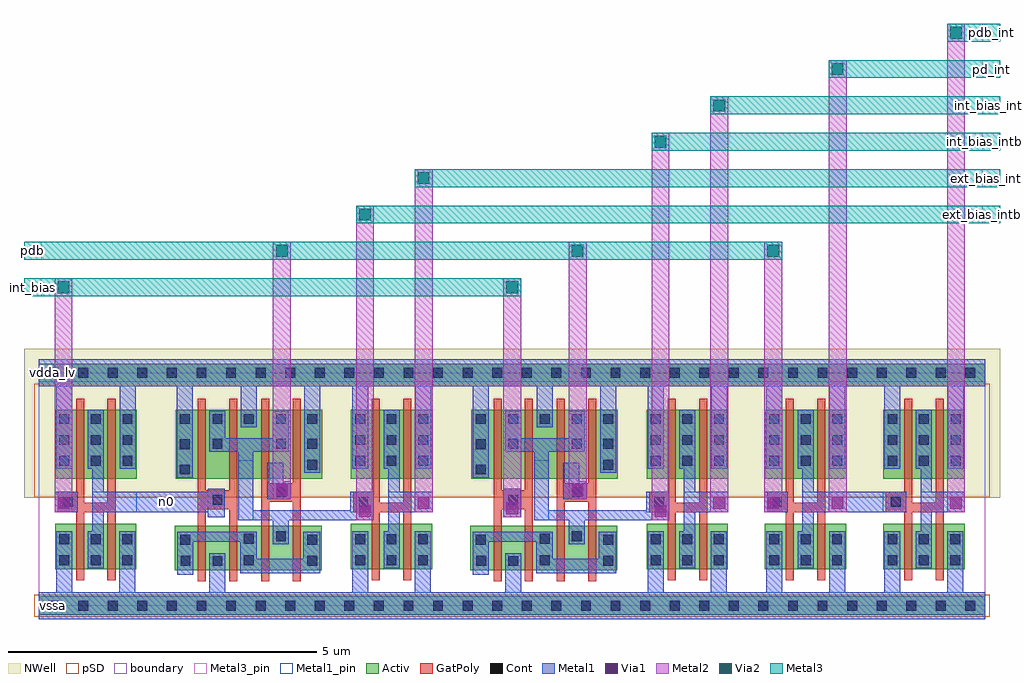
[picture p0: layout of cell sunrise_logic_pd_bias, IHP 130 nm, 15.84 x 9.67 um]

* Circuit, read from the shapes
.subckt sunrise_logic_pd_bias ext_bias_int ext_bias_intb int_bias int_bias_int int_bias_intb n0 pd_int pdb pdb_int vdda_lv vssa
XM1 n0 int_bias vssa vssa sg13_lv_nmos w=0.74u l=0.13u m=2
XM2 vssa n0 n1 vssa sg13_lv_nmos w=0.72u l=0.13u m=2
XM3 ext_bias_intb pdb n1 vssa sg13_lv_nmos w=0.72u l=0.13u m=2
XM4 ext_bias_int ext_bias_intb vssa vssa sg13_lv_nmos w=0.74u l=0.13u m=2
XM5 vssa int_bias n2 vssa sg13_lv_nmos w=0.72u l=0.13u m=2
XM6 int_bias_intb pdb n2 vssa sg13_lv_nmos w=0.72u l=0.13u m=2
XM7 int_bias_int int_bias_intb vssa vssa sg13_lv_nmos w=0.74u l=0.13u m=2
XM8 pd_int pdb vssa vssa sg13_lv_nmos w=0.74u l=0.13u m=2
XM9 pdb_int pd_int vssa vssa sg13_lv_nmos w=0.74u l=0.13u m=2
XM10 n0 int_bias vdda_lv vdda_lv sg13_lv_pmos w=1.12u l=0.13u m=2
XM11 ext_bias_intb n0 vdda_lv vdda_lv sg13_lv_pmos w=1.12u l=0.13u m=2
XM12 ext_bias_intb pdb vdda_lv vdda_lv sg13_lv_pmos w=1.12u l=0.13u m=2
XM13 ext_bias_int ext_bias_intb vdda_lv vdda_lv sg13_lv_pmos w=1.12u l=0.13u m=2
XM14 int_bias_intb int_bias vdda_lv vdda_lv sg13_lv_pmos w=1.12u l=0.13u m=2
XM15 int_bias_intb pdb vdda_lv vdda_lv sg13_lv_pmos w=1.12u l=0.13u m=2
XM16 int_bias_int int_bias_intb vdda_lv vdda_lv sg13_lv_pmos w=1.12u l=0.13u m=2
XM17 pd_int pdb vdda_lv vdda_lv sg13_lv_pmos w=1.12u l=0.13u m=2
XM18 pdb_int pd_int vdda_lv vdda_lv sg13_lv_pmos w=1.12u l=0.13u m=2
.ends

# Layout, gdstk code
from math import pi, radians
import gdstk
lib = gdstk.Library(unit=1e-6, precision=1e-09)
def R(c, l, rs):  # rectangles x0, y0, x1, y1
    for r in rs: c.add(gdstk.rectangle(r[:2], r[2:], *l))
def A(c, l, x, y, w, h, nx, ny, dx, dy):  # array of equal rectangles
    R(c, l, [(x+i*dx, y+j*dy, x+i*dx+w, y+j*dy+h) for i in range(nx) for j in range(ny)])
def P(c, l, *ps):  # polygons
    for p in ps: c.add(gdstk.Polygon(p, *l))
Activ = (1, 0)
GatPoly = (5, 0)
Cont = (6, 0)
Metal1 = (8, 0)
Metal1_pin = (8, 2)
Metal2 = (10, 0)
pSD = (14, 0)
Via1 = (19, 0)
Via2 = (29, 0)
Metal3 = (30, 0)
Metal3_pin = (30, 2)
NWell = (31, 0)
boundary = (189, 4)

sg13cmos5l_inv_2 = lib.new_cell('sg13cmos5l_inv_2')
R(sg13cmos5l_inv_2, Activ, [(0,-0.15,1.92,0.15), (0.265,0.59,1.585,1.33), (0.265,2.06,1.59,3.18), (0,3.63,1.92,3.93)])
P(sg13cmos5l_inv_2, GatPoly, [(0.605,0.41),(0.605,1.52),(0.305,1.52),(0.305,1.85),(0.605,1.85),(0.605,3.36),(0.735,3.36),(0.735,1.67),(1.115,1.67),(1.115,3.36),(1.245,3.36),(1.245,0.41),(1.115,0.41),(1.115,1.52),(0.735,1.52),(0.735,0.41)])
A(sg13cmos5l_inv_2, Cont, 0.335, 0.66, 0.16, 0.16, 3, 2, 0.51, 0.34)
A(sg13cmos5l_inv_2, Cont, 0.335, 2.27, 0.16, 0.16, 1, 3, 0, 0.34)
A(sg13cmos5l_inv_2, Cont, 0.845, 2.27, 0.16, 0.16, 1, 3, 0, 0.34)
A(sg13cmos5l_inv_2, Cont, 1.36, 2.27, 0.16, 0.16, 1, 3, 0, 0.34)
R(sg13cmos5l_inv_2, Cont, [(0.16,-0.08,0.32,0.08), (0.16,-0.08,0.32,0.08), (0.64,-0.08,0.8,0.08), (0.64,-0.08,0.8,0.08), (1.12,-0.08,1.28,0.08), (1.12,-0.08,1.28,0.08), (1.6,-0.08,1.76,0.08), (1.6,-0.08,1.76,0.08), (0.39,1.605,0.55,1.765), (0.16,3.7,0.32,3.86), (0.16,3.7,0.32,3.86), (0.64,3.7,0.8,3.86), (0.64,3.7,0.8,3.86), (1.12,3.7,1.28,3.86), (1.12,3.7,1.28,3.86), (1.6,3.7,1.76,3.86), (1.6,3.7,1.76,3.86)])
R(sg13cmos5l_inv_2, Metal1, [(0.255,1.52,0.635,1.85)])
P(sg13cmos5l_inv_2, Metal1, [(0.285,2.22),(0.285,3.56),(0,3.56),(0,4),(1.92,4),(1.92,3.56),(1.57,3.56),(1.57,2.22),(1.31,2.22),(1.31,3.56),(0.545,3.56),(0.545,2.22)],
  [(0,-0.22),(0,0.22),(0.285,0.22),(0.285,1.21),(0.545,1.21),(0.545,0.22),(1.305,0.22),(1.305,1.21),(1.565,1.21),(1.565,0.22),(1.92,0.22),(1.92,-0.22)],
  [(0.795,0.61),(0.795,1.21),(0.87,1.21),(0.87,2.22),(0.795,2.22),(0.795,3.18),(1.055,3.18),(1.055,1.85),(1.59,1.85),(1.59,1.52),(1.055,1.52),(1.055,0.61)])
R(sg13cmos5l_inv_2, Metal1_pin, [(0,-0.22,1.92,0.22), (0.255,1.52,0.635,1.85), (0.87,1.52,1.59,1.85), (0,3.56,1.92,4)])
R(sg13cmos5l_inv_2, pSD, [(-0.07,-0.18,1.99,0.18), (-0.07,1.76,1.99,3.6)])
R(sg13cmos5l_inv_2, NWell, [(-0.24,1.75,2.16,4.17)])
R(sg13cmos5l_inv_2, boundary, [(0,0,1.92,3.78)])
sg13cmos5l_inv_2.add(gdstk.Label('VSS', (0.89,0), layer=8, texttype=25))
sg13cmos5l_inv_2.add(gdstk.Label('VDD', (0.935,3.785), layer=8, texttype=25))
sg13cmos5l_inv_2.add(gdstk.Label('Y', (1.44,1.68), layer=8, texttype=25))
sg13cmos5l_inv_2.add(gdstk.Label('A', (0.48,1.68), layer=8, texttype=25))

sg13cmos5l_inv_2_1 = lib.new_cell('sg13cmos5l_inv_2$1')
R(sg13cmos5l_inv_2_1, Activ, [(8.09,1.73,10.01,2.03), (8.355,2.47,9.675,3.21), (8.355,3.94,9.68,5.06), (8.09,5.51,10.01,5.81)])
P(sg13cmos5l_inv_2_1, GatPoly, [(8.695,2.29),(8.695,3.4),(8.395,3.4),(8.395,3.73),(8.695,3.73),(8.695,5.24),(8.825,5.24),(8.825,3.55),(9.205,3.55),(9.205,5.24),(9.335,5.24),(9.335,2.29),(9.205,2.29),(9.205,3.4),(8.825,3.4),(8.825,2.29)])
A(sg13cmos5l_inv_2_1, Cont, 8.425, 2.54, 0.16, 0.16, 3, 2, 0.51, 0.34)
A(sg13cmos5l_inv_2_1, Cont, 8.425, 4.15, 0.16, 0.16, 1, 3, 0, 0.34)
A(sg13cmos5l_inv_2_1, Cont, 8.935, 4.15, 0.16, 0.16, 1, 3, 0, 0.34)
A(sg13cmos5l_inv_2_1, Cont, 9.45, 4.15, 0.16, 0.16, 1, 3, 0, 0.34)
R(sg13cmos5l_inv_2_1, Cont, [(8.25,1.8,8.41,1.96), (8.25,1.8,8.41,1.96), (8.73,1.8,8.89,1.96), (8.73,1.8,8.89,1.96), (9.21,1.8,9.37,1.96), (9.21,1.8,9.37,1.96), (9.69,1.8,9.85,1.96), (9.69,1.8,9.85,1.96), (8.48,3.485,8.64,3.645), (8.25,5.58,8.41,5.74), (8.25,5.58,8.41,5.74), (8.73,5.58,8.89,5.74), (8.73,5.58,8.89,5.74), (9.21,5.58,9.37,5.74), (9.21,5.58,9.37,5.74), (9.69,5.58,9.85,5.74), (9.69,5.58,9.85,5.74)])
R(sg13cmos5l_inv_2_1, Metal1, [(8.345,3.4,8.725,3.73)])
P(sg13cmos5l_inv_2_1, Metal1, [(8.375,4.1),(8.375,5.44),(8.09,5.44),(8.09,5.88),(10.01,5.88),(10.01,5.44),(9.66,5.44),(9.66,4.1),(9.4,4.1),(9.4,5.44),(8.635,5.44),(8.635,4.1)],
  [(8.09,1.66),(8.09,2.1),(8.375,2.1),(8.375,3.09),(8.635,3.09),(8.635,2.1),(9.395,2.1),(9.395,3.09),(9.655,3.09),(9.655,2.1),(10.01,2.1),(10.01,1.66)],
  [(8.885,2.49),(8.885,3.09),(8.96,3.09),(8.96,4.1),(8.885,4.1),(8.885,5.06),(9.145,5.06),(9.145,3.73),(9.68,3.73),(9.68,3.4),(9.145,3.4),(9.145,2.49)])
R(sg13cmos5l_inv_2_1, Metal1_pin, [(8.09,1.66,10.01,2.1), (8.345,3.4,8.725,3.73), (8.96,3.4,9.68,3.73), (8.09,5.44,10.01,5.88)])
R(sg13cmos5l_inv_2_1, pSD, [(8.02,1.7,10.08,2.06), (8.02,3.64,10.08,5.48)])
R(sg13cmos5l_inv_2_1, NWell, [(7.85,3.63,10.25,6.05)])
R(sg13cmos5l_inv_2_1, boundary, [(8.09,1.88,10.01,5.66)])
sg13cmos5l_inv_2_1.add(gdstk.Label('VSS', (8.98,1.88), layer=8, texttype=25))
sg13cmos5l_inv_2_1.add(gdstk.Label('VDD', (9.025,5.665), layer=8, texttype=25))
sg13cmos5l_inv_2_1.add(gdstk.Label('Y', (9.53,3.56), layer=8, texttype=25))
sg13cmos5l_inv_2_1.add(gdstk.Label('A', (8.57,3.56), layer=8, texttype=25))

sg13cmos5l_inv_2_1_1 = lib.new_cell('sg13cmos5l_inv_2$1$1')
R(sg13cmos5l_inv_2_1_1, Activ, [(8.09,1.73,10.01,2.03), (8.355,2.47,9.675,3.21), (8.355,3.94,9.68,5.06), (8.09,5.51,10.01,5.81)])
P(sg13cmos5l_inv_2_1_1, GatPoly, [(8.695,2.29),(8.695,3.4),(8.395,3.4),(8.395,3.73),(8.695,3.73),(8.695,5.24),(8.825,5.24),(8.825,3.55),(9.205,3.55),(9.205,5.24),(9.335,5.24),(9.335,2.29),(9.205,2.29),(9.205,3.4),(8.825,3.4),(8.825,2.29)])
A(sg13cmos5l_inv_2_1_1, Cont, 8.425, 2.54, 0.16, 0.16, 3, 2, 0.51, 0.34)
A(sg13cmos5l_inv_2_1_1, Cont, 8.425, 4.15, 0.16, 0.16, 1, 3, 0, 0.34)
A(sg13cmos5l_inv_2_1_1, Cont, 8.935, 4.15, 0.16, 0.16, 1, 3, 0, 0.34)
A(sg13cmos5l_inv_2_1_1, Cont, 9.45, 4.15, 0.16, 0.16, 1, 3, 0, 0.34)
R(sg13cmos5l_inv_2_1_1, Cont, [(8.25,1.8,8.41,1.96), (8.25,1.8,8.41,1.96), (8.73,1.8,8.89,1.96), (8.73,1.8,8.89,1.96), (9.21,1.8,9.37,1.96), (9.21,1.8,9.37,1.96), (9.69,1.8,9.85,1.96), (9.69,1.8,9.85,1.96), (8.48,3.485,8.64,3.645), (8.25,5.58,8.41,5.74), (8.25,5.58,8.41,5.74), (8.73,5.58,8.89,5.74), (8.73,5.58,8.89,5.74), (9.21,5.58,9.37,5.74), (9.21,5.58,9.37,5.74), (9.69,5.58,9.85,5.74), (9.69,5.58,9.85,5.74)])
R(sg13cmos5l_inv_2_1_1, Metal1, [(8.345,3.4,8.725,3.73)])
P(sg13cmos5l_inv_2_1_1, Metal1, [(8.375,4.1),(8.375,5.44),(8.09,5.44),(8.09,5.88),(10.01,5.88),(10.01,5.44),(9.66,5.44),(9.66,4.1),(9.4,4.1),(9.4,5.44),(8.635,5.44),(8.635,4.1)],
  [(8.09,1.66),(8.09,2.1),(8.375,2.1),(8.375,3.09),(8.635,3.09),(8.635,2.1),(9.395,2.1),(9.395,3.09),(9.655,3.09),(9.655,2.1),(10.01,2.1),(10.01,1.66)],
  [(8.885,2.49),(8.885,3.09),(8.96,3.09),(8.96,4.1),(8.885,4.1),(8.885,5.06),(9.145,5.06),(9.145,3.73),(9.68,3.73),(9.68,3.4),(9.145,3.4),(9.145,2.49)])
R(sg13cmos5l_inv_2_1_1, Metal1_pin, [(8.09,1.66,10.01,2.1), (8.345,3.4,8.725,3.73), (8.96,3.4,9.68,3.73), (8.09,5.44,10.01,5.88)])
R(sg13cmos5l_inv_2_1_1, pSD, [(8.02,1.7,10.08,2.06), (8.02,3.64,10.08,5.48)])
R(sg13cmos5l_inv_2_1_1, NWell, [(7.85,3.63,10.25,6.05)])
R(sg13cmos5l_inv_2_1_1, boundary, [(8.09,1.88,10.01,5.66)])
sg13cmos5l_inv_2_1_1.add(gdstk.Label('VSS', (8.98,1.88), layer=8, texttype=25))
sg13cmos5l_inv_2_1_1.add(gdstk.Label('VDD', (9.025,5.665), layer=8, texttype=25))
sg13cmos5l_inv_2_1_1.add(gdstk.Label('Y', (9.53,3.56), layer=8, texttype=25))
sg13cmos5l_inv_2_1_1.add(gdstk.Label('A', (8.57,3.56), layer=8, texttype=25))

via_stack_1 = lib.new_cell('via_stack$1')
R(via_stack_1, Metal1, [(-0.145,-0.145,0.145,0.145)])
R(via_stack_1, Metal2, [(-0.145,-0.145,0.145,0.145)])
R(via_stack_1, Via1, [(-0.095,-0.095,0.095,0.095)])

via_stack = lib.new_cell('via_stack')
R(via_stack, Metal2, [(-0.145,-0.145,0.145,0.145)])
R(via_stack, Via2, [(-0.095,-0.095,0.095,0.095)])
R(via_stack, Metal3, [(-0.145,-0.145,0.145,0.145)])

sg13cmos5l_nand2_2 = lib.new_cell('sg13cmos5l_nand2_2')
R(sg13cmos5l_nand2_2, Activ, [(0,-0.15,2.88,0.15), (0.285,0.575,2.67,1.295), (0.3,2.06,2.68,3.18), (0,3.63,2.88,3.93)])
P(sg13cmos5l_nand2_2, GatPoly, [(0.66,0.395),(0.66,3.36),(0.79,3.36),(0.79,1.875),(1.17,1.875),(1.17,3.36),(1.3,3.36),(1.3,0.395),(1.17,0.395),(1.17,1.565),(0.79,1.565),(0.79,0.395)],
  [(1.69,0.395),(1.69,3.36),(1.82,3.36),(1.82,1.99),(2.2,1.99),(2.2,3.36),(2.33,3.36),(2.33,0.395),(2.2,0.395),(2.2,1.69),(1.82,1.69),(1.82,0.395)])
A(sg13cmos5l_nand2_2, Cont, 1.6, -0.08, 0.16, 0.16, 3, 2, 0.48, 3.78)
A(sg13cmos5l_nand2_2, Cont, 0.37, 2.13, 0.16, 0.16, 1, 3, 0, 0.41)
R(sg13cmos5l_nand2_2, Cont, [(0.16,-0.08,0.32,0.08), (0.16,-0.08,0.32,0.08), (0.64,-0.08,0.8,0.08), (0.64,-0.08,0.8,0.08), (1.12,-0.08,1.28,0.08), (1.12,-0.08,1.28,0.08), (1.6,-0.08,1.76,0.08), (0.9,0.645,1.06,0.805), (0.38,0.65,0.54,0.81), (2.44,0.65,2.6,0.81), (1.41,0.66,1.57,0.82), (0.375,0.99,0.535,1.15), (2.44,0.99,2.6,1.15), (1.41,1.005,1.57,1.165), (1.93,1.05,2.09,1.21), (0.9,1.64,1.06,1.8), (1.93,1.76,2.09,1.92), (2.44,2.21,2.6,2.37), (0.9,2.55,1.06,2.71), (1.93,2.55,2.09,2.71), (2.44,2.55,2.6,2.71), (0.9,2.95,1.06,3.11), (1.41,2.95,1.57,3.11), (1.93,2.95,2.09,3.11), (2.44,2.95,2.6,3.11), (0.16,3.7,0.32,3.86), (0.16,3.7,0.32,3.86), (0.64,3.7,0.8,3.86), (0.64,3.7,0.8,3.86), (1.12,3.7,1.28,3.86), (1.12,3.7,1.28,3.86), (1.6,3.7,1.76,3.86)])
R(sg13cmos5l_nand2_2, Metal1, [(0.82,1.435,1.1,1.9)])
P(sg13cmos5l_nand2_2, Metal1, [(0.32,2.08),(0.32,3.56),(0,3.56),(0,4),(2.88,4),(2.88,3.56),(2.65,3.56),(2.65,2.16),(2.39,2.16),(2.39,3.56),(1.62,3.56),(1.62,2.9),(1.36,2.9),(1.36,3.56),(0.58,3.56),(0.58,2.08)],
  [(1.79,1.73),(1.79,2.32),(2.05,2.32),(2.05,1.98),(2.17,1.98),(2.17,1.73)],
  [(1.88,1),(1.88,1.39),(1.32,1.39),(1.32,2.5),(0.85,2.5),(0.85,3.16),(1.11,3.16),(1.11,2.72),(1.88,2.72),(1.88,3.16),(2.14,3.16),(2.14,2.5),(1.56,2.5),(1.56,1.55),(2.14,1.55),(2.14,1)],
  [(0.325,0.5),(0.325,1.2),(1.62,1.2),(1.62,0.76),(2.37,0.76),(2.37,1.2),(2.65,1.2),(2.65,0.53),(1.35,0.53),(1.35,1.035),(0.585,1.035),(0.585,0.5)],
  [(0,-0.22),(0,0.22),(0.85,0.22),(0.85,0.855),(1.11,0.855),(1.11,0.22),(2.88,0.22),(2.88,-0.22)])
R(sg13cmos5l_nand2_2, Metal1_pin, [(0,-0.22,2.88,0.22), (1.32,1.39,1.56,2.36), (0.82,1.435,1.1,1.9), (1.79,1.73,2.05,2.32), (0,3.56,2.88,4)])
R(sg13cmos5l_nand2_2, pSD, [(-0.07,-0.18,2.95,0.18), (-0.07,1.76,2.95,3.6)])
R(sg13cmos5l_nand2_2, NWell, [(-0.24,1.75,3.12,4.17)])
R(sg13cmos5l_nand2_2, boundary, [(0,0,2.88,3.78)])
sg13cmos5l_nand2_2.add(gdstk.Label('Y', (1.44,2.1), layer=8, texttype=25))
sg13cmos5l_nand2_2.add(gdstk.Label('VDD', (1.37,3.78), layer=8, texttype=25))
sg13cmos5l_nand2_2.add(gdstk.Label('A', (1.92,2.1), layer=8, texttype=25))
sg13cmos5l_nand2_2.add(gdstk.Label('VSS', (1.445,-0.02), layer=8, texttype=25))
sg13cmos5l_nand2_2.add(gdstk.Label('B', (0.98,1.655), layer=8, texttype=25))

sg13cmos5l_inv_2_2 = lib.new_cell('sg13cmos5l_inv_2$2')
R(sg13cmos5l_inv_2_2, Activ, [(0,-0.15,1.92,0.15), (0.265,0.59,1.585,1.33), (0.265,2.06,1.59,3.18), (0,3.63,1.92,3.93)])
P(sg13cmos5l_inv_2_2, GatPoly, [(0.605,0.41),(0.605,1.52),(0.305,1.52),(0.305,1.85),(0.605,1.85),(0.605,3.36),(0.735,3.36),(0.735,1.67),(1.115,1.67),(1.115,3.36),(1.245,3.36),(1.245,0.41),(1.115,0.41),(1.115,1.52),(0.735,1.52),(0.735,0.41)])
A(sg13cmos5l_inv_2_2, Cont, 0.335, 0.66, 0.16, 0.16, 3, 2, 0.51, 0.34)
A(sg13cmos5l_inv_2_2, Cont, 0.335, 2.27, 0.16, 0.16, 1, 3, 0, 0.34)
A(sg13cmos5l_inv_2_2, Cont, 0.845, 2.27, 0.16, 0.16, 1, 3, 0, 0.34)
A(sg13cmos5l_inv_2_2, Cont, 1.36, 2.27, 0.16, 0.16, 1, 3, 0, 0.34)
R(sg13cmos5l_inv_2_2, Cont, [(0.16,-0.08,0.32,0.08), (0.16,-0.08,0.32,0.08), (0.64,-0.08,0.8,0.08), (0.64,-0.08,0.8,0.08), (1.12,-0.08,1.28,0.08), (1.12,-0.08,1.28,0.08), (1.6,-0.08,1.76,0.08), (1.6,-0.08,1.76,0.08), (0.39,1.605,0.55,1.765), (0.16,3.7,0.32,3.86), (0.16,3.7,0.32,3.86), (0.64,3.7,0.8,3.86), (0.64,3.7,0.8,3.86), (1.12,3.7,1.28,3.86), (1.12,3.7,1.28,3.86), (1.6,3.7,1.76,3.86), (1.6,3.7,1.76,3.86)])
R(sg13cmos5l_inv_2_2, Metal1, [(0.255,1.52,0.635,1.85)])
P(sg13cmos5l_inv_2_2, Metal1, [(0.285,2.22),(0.285,3.56),(0,3.56),(0,4),(1.92,4),(1.92,3.56),(1.57,3.56),(1.57,2.22),(1.31,2.22),(1.31,3.56),(0.545,3.56),(0.545,2.22)],
  [(0,-0.22),(0,0.22),(0.285,0.22),(0.285,1.21),(0.545,1.21),(0.545,0.22),(1.305,0.22),(1.305,1.21),(1.565,1.21),(1.565,0.22),(1.92,0.22),(1.92,-0.22)],
  [(0.795,0.61),(0.795,1.21),(0.87,1.21),(0.87,2.22),(0.795,2.22),(0.795,3.18),(1.055,3.18),(1.055,1.85),(1.59,1.85),(1.59,1.52),(1.055,1.52),(1.055,0.61)])
R(sg13cmos5l_inv_2_2, Metal1_pin, [(0,-0.22,1.92,0.22), (0.255,1.52,0.635,1.85), (0.87,1.52,1.59,1.85), (0,3.56,1.92,4)])
R(sg13cmos5l_inv_2_2, pSD, [(-0.07,-0.18,1.99,0.18), (-0.07,1.76,1.99,3.6)])
R(sg13cmos5l_inv_2_2, NWell, [(-0.24,1.75,2.16,4.17)])
R(sg13cmos5l_inv_2_2, boundary, [(0,0,1.92,3.78)])
sg13cmos5l_inv_2_2.add(gdstk.Label('VSS', (0.89,0), layer=8, texttype=25))
sg13cmos5l_inv_2_2.add(gdstk.Label('VDD', (0.935,3.785), layer=8, texttype=25))
sg13cmos5l_inv_2_2.add(gdstk.Label('Y', (1.44,1.68), layer=8, texttype=25))
sg13cmos5l_inv_2_2.add(gdstk.Label('A', (0.48,1.68), layer=8, texttype=25))

sg13cmos5l_nand2_2_1 = lib.new_cell('sg13cmos5l_nand2_2$1')
R(sg13cmos5l_nand2_2_1, Activ, [(0,-0.15,2.88,0.15), (0.285,0.575,2.67,1.295), (0.3,2.06,2.68,3.18), (0,3.63,2.88,3.93)])
P(sg13cmos5l_nand2_2_1, GatPoly, [(0.66,0.395),(0.66,3.36),(0.79,3.36),(0.79,1.875),(1.17,1.875),(1.17,3.36),(1.3,3.36),(1.3,0.395),(1.17,0.395),(1.17,1.565),(0.79,1.565),(0.79,0.395)],
  [(1.69,0.395),(1.69,3.36),(1.82,3.36),(1.82,1.99),(2.2,1.99),(2.2,3.36),(2.33,3.36),(2.33,0.395),(2.2,0.395),(2.2,1.69),(1.82,1.69),(1.82,0.395)])
A(sg13cmos5l_nand2_2_1, Cont, 1.6, -0.08, 0.16, 0.16, 3, 2, 0.48, 3.78)
A(sg13cmos5l_nand2_2_1, Cont, 0.37, 2.13, 0.16, 0.16, 1, 3, 0, 0.41)
R(sg13cmos5l_nand2_2_1, Cont, [(0.16,-0.08,0.32,0.08), (0.16,-0.08,0.32,0.08), (0.64,-0.08,0.8,0.08), (0.64,-0.08,0.8,0.08), (1.12,-0.08,1.28,0.08), (1.12,-0.08,1.28,0.08), (1.6,-0.08,1.76,0.08), (0.9,0.645,1.06,0.805), (0.38,0.65,0.54,0.81), (2.44,0.65,2.6,0.81), (1.41,0.66,1.57,0.82), (0.375,0.99,0.535,1.15), (2.44,0.99,2.6,1.15), (1.41,1.005,1.57,1.165), (1.93,1.05,2.09,1.21), (0.9,1.64,1.06,1.8), (1.93,1.76,2.09,1.92), (2.44,2.21,2.6,2.37), (0.9,2.55,1.06,2.71), (1.93,2.55,2.09,2.71), (2.44,2.55,2.6,2.71), (0.9,2.95,1.06,3.11), (1.41,2.95,1.57,3.11), (1.93,2.95,2.09,3.11), (2.44,2.95,2.6,3.11), (0.16,3.7,0.32,3.86), (0.16,3.7,0.32,3.86), (0.64,3.7,0.8,3.86), (0.64,3.7,0.8,3.86), (1.12,3.7,1.28,3.86), (1.12,3.7,1.28,3.86), (1.6,3.7,1.76,3.86)])
R(sg13cmos5l_nand2_2_1, Metal1, [(0.82,1.435,1.1,1.9)])
P(sg13cmos5l_nand2_2_1, Metal1, [(0.32,2.08),(0.32,3.56),(0,3.56),(0,4),(2.88,4),(2.88,3.56),(2.65,3.56),(2.65,2.16),(2.39,2.16),(2.39,3.56),(1.62,3.56),(1.62,2.9),(1.36,2.9),(1.36,3.56),(0.58,3.56),(0.58,2.08)],
  [(1.79,1.73),(1.79,2.32),(2.05,2.32),(2.05,1.98),(2.17,1.98),(2.17,1.73)],
  [(1.88,1),(1.88,1.39),(1.32,1.39),(1.32,2.5),(0.85,2.5),(0.85,3.16),(1.11,3.16),(1.11,2.72),(1.88,2.72),(1.88,3.16),(2.14,3.16),(2.14,2.5),(1.56,2.5),(1.56,1.55),(2.14,1.55),(2.14,1)],
  [(0.325,0.5),(0.325,1.2),(1.62,1.2),(1.62,0.76),(2.37,0.76),(2.37,1.2),(2.65,1.2),(2.65,0.53),(1.35,0.53),(1.35,1.035),(0.585,1.035),(0.585,0.5)],
  [(0,-0.22),(0,0.22),(0.85,0.22),(0.85,0.855),(1.11,0.855),(1.11,0.22),(2.88,0.22),(2.88,-0.22)])
R(sg13cmos5l_nand2_2_1, Metal1_pin, [(0,-0.22,2.88,0.22), (1.32,1.39,1.56,2.36), (0.82,1.435,1.1,1.9), (1.79,1.73,2.05,2.32), (0,3.56,2.88,4)])
R(sg13cmos5l_nand2_2_1, pSD, [(-0.07,-0.18,2.95,0.18), (-0.07,1.76,2.95,3.6)])
R(sg13cmos5l_nand2_2_1, NWell, [(-0.24,1.75,3.12,4.17)])
R(sg13cmos5l_nand2_2_1, boundary, [(0,0,2.88,3.78)])
sg13cmos5l_nand2_2_1.add(gdstk.Label('Y', (1.44,2.1), layer=8, texttype=25))
sg13cmos5l_nand2_2_1.add(gdstk.Label('VDD', (1.37,3.78), layer=8, texttype=25))
sg13cmos5l_nand2_2_1.add(gdstk.Label('A', (1.92,2.1), layer=8, texttype=25))
sg13cmos5l_nand2_2_1.add(gdstk.Label('VSS', (1.445,-0.02), layer=8, texttype=25))
sg13cmos5l_nand2_2_1.add(gdstk.Label('B', (0.98,1.655), layer=8, texttype=25))

sg13cmos5l_inv_2_3 = lib.new_cell('sg13cmos5l_inv_2$3')
R(sg13cmos5l_inv_2_3, Activ, [(0,-0.15,1.92,0.15), (0.265,0.59,1.585,1.33), (0.265,2.06,1.59,3.18), (0,3.63,1.92,3.93)])
P(sg13cmos5l_inv_2_3, GatPoly, [(0.605,0.41),(0.605,1.52),(0.305,1.52),(0.305,1.85),(0.605,1.85),(0.605,3.36),(0.735,3.36),(0.735,1.67),(1.115,1.67),(1.115,3.36),(1.245,3.36),(1.245,0.41),(1.115,0.41),(1.115,1.52),(0.735,1.52),(0.735,0.41)])
A(sg13cmos5l_inv_2_3, Cont, 0.335, 0.66, 0.16, 0.16, 3, 2, 0.51, 0.34)
A(sg13cmos5l_inv_2_3, Cont, 0.335, 2.27, 0.16, 0.16, 1, 3, 0, 0.34)
A(sg13cmos5l_inv_2_3, Cont, 0.845, 2.27, 0.16, 0.16, 1, 3, 0, 0.34)
A(sg13cmos5l_inv_2_3, Cont, 1.36, 2.27, 0.16, 0.16, 1, 3, 0, 0.34)
R(sg13cmos5l_inv_2_3, Cont, [(0.16,-0.08,0.32,0.08), (0.16,-0.08,0.32,0.08), (0.64,-0.08,0.8,0.08), (0.64,-0.08,0.8,0.08), (1.12,-0.08,1.28,0.08), (1.12,-0.08,1.28,0.08), (1.6,-0.08,1.76,0.08), (1.6,-0.08,1.76,0.08), (0.39,1.605,0.55,1.765), (0.16,3.7,0.32,3.86), (0.16,3.7,0.32,3.86), (0.64,3.7,0.8,3.86), (0.64,3.7,0.8,3.86), (1.12,3.7,1.28,3.86), (1.12,3.7,1.28,3.86), (1.6,3.7,1.76,3.86), (1.6,3.7,1.76,3.86)])
R(sg13cmos5l_inv_2_3, Metal1, [(0.255,1.52,0.635,1.85)])
P(sg13cmos5l_inv_2_3, Metal1, [(0.285,2.22),(0.285,3.56),(0,3.56),(0,4),(1.92,4),(1.92,3.56),(1.57,3.56),(1.57,2.22),(1.31,2.22),(1.31,3.56),(0.545,3.56),(0.545,2.22)],
  [(0,-0.22),(0,0.22),(0.285,0.22),(0.285,1.21),(0.545,1.21),(0.545,0.22),(1.305,0.22),(1.305,1.21),(1.565,1.21),(1.565,0.22),(1.92,0.22),(1.92,-0.22)],
  [(0.795,0.61),(0.795,1.21),(0.87,1.21),(0.87,2.22),(0.795,2.22),(0.795,3.18),(1.055,3.18),(1.055,1.85),(1.59,1.85),(1.59,1.52),(1.055,1.52),(1.055,0.61)])
R(sg13cmos5l_inv_2_3, Metal1_pin, [(0,-0.22,1.92,0.22), (0.255,1.52,0.635,1.85), (0.87,1.52,1.59,1.85), (0,3.56,1.92,4)])
R(sg13cmos5l_inv_2_3, pSD, [(-0.07,-0.18,1.99,0.18), (-0.07,1.76,1.99,3.6)])
R(sg13cmos5l_inv_2_3, NWell, [(-0.24,1.75,2.16,4.17)])
R(sg13cmos5l_inv_2_3, boundary, [(0,0,1.92,3.78)])
sg13cmos5l_inv_2_3.add(gdstk.Label('VSS', (0.89,0), layer=8, texttype=25))
sg13cmos5l_inv_2_3.add(gdstk.Label('VDD', (0.935,3.785), layer=8, texttype=25))
sg13cmos5l_inv_2_3.add(gdstk.Label('Y', (1.44,1.68), layer=8, texttype=25))
sg13cmos5l_inv_2_3.add(gdstk.Label('A', (0.48,1.68), layer=8, texttype=25))

sunrise_logic_pd_bias = lib.new_cell('sunrise_logic_pd_bias')
R(sunrise_logic_pd_bias, Metal1_pin, [(0.24,0,0.68,0.44), (0.24,3.78,0.68,4.22)])
A(sunrise_logic_pd_bias, Metal3_pin, 15.55, 6.425, 0.29, 0.29, 1, 6, 0, 0.59)
R(sunrise_logic_pd_bias, Metal3_pin, [(0,5.245,0.29,5.535), (0,5.835,0.29,6.125)])
sunrise_logic_pd_bias.add(gdstk.FlexPath([(1.83,1.905),(2.98,1.905)], 0.33, ends="flush", simple_path=True, layer=8, datatype=0))  # Metal1
sunrise_logic_pd_bias.add(gdstk.FlexPath([(4.3,1.69),(5.675,1.69)], 0.16, ends="flush", simple_path=True, layer=8, datatype=0))  # Metal1
sunrise_logic_pd_bias.add(gdstk.FlexPath([(9.1,1.69),(10.475,1.69)], 0.16, ends="flush", simple_path=True, layer=8, datatype=0))  # Metal1
sunrise_logic_pd_bias.add(gdstk.FlexPath([(13.35,1.905),(13.935,1.905)], 0.33, ends="flush", simple_path=True, layer=8, datatype=0))  # Metal1
sunrise_logic_pd_bias.add(gdstk.FlexPath([(0.64,1.885),(0.64,5.39)], 0.29, ends="flush", simple_path=True, layer=10, datatype=0))  # Metal2
sunrise_logic_pd_bias.add(gdstk.FlexPath([(4.185,5.98),(4.185,2.095)], 0.29, ends="flush", simple_path=True, layer=10, datatype=0))  # Metal2
sunrise_logic_pd_bias.add(gdstk.FlexPath([(5.535,1.77),(5.535,6.57)], 0.29, ends="flush", simple_path=True, layer=10, datatype=0))  # Metal2
sunrise_logic_pd_bias.add(gdstk.FlexPath([(6.485,1.885),(6.485,7.16)], 0.29, ends="flush", simple_path=True, layer=10, datatype=0))  # Metal2
sunrise_logic_pd_bias.add(gdstk.FlexPath([(7.925,1.8),(7.925,5.39)], 0.29, ends="flush", simple_path=True, layer=10, datatype=0))  # Metal2
sunrise_logic_pd_bias.add(gdstk.FlexPath([(8.985,2.095),(8.985,5.98)], 0.29, ends="flush", simple_path=True, layer=10, datatype=0))  # Metal2
sunrise_logic_pd_bias.add(gdstk.FlexPath([(10.33,1.755),(10.33,7.75)], 0.29, ends="flush", simple_path=True, layer=10, datatype=0))  # Metal2
sunrise_logic_pd_bias.add(gdstk.FlexPath([(11.285,1.885),(11.285,8.34)], 0.29, ends="flush", simple_path=True, layer=10, datatype=0))  # Metal2
sunrise_logic_pd_bias.add(gdstk.FlexPath([(12.16,1.885),(12.16,5.98)], 0.29, ends="flush", simple_path=True, layer=10, datatype=0))  # Metal2
sunrise_logic_pd_bias.add(gdstk.FlexPath([(13.205,1.885),(13.205,8.93)], 0.29, ends="flush", simple_path=True, layer=10, datatype=0))  # Metal2
sunrise_logic_pd_bias.add(gdstk.FlexPath([(15.125,1.885),(15.125,9.525)], 0.29, ends="flush", simple_path=True, layer=10, datatype=0))  # Metal2
sunrise_logic_pd_bias.add(gdstk.FlexPath([(7.925,5.39),(0,5.39)], 0.29, ends="flush", simple_path=True, layer=30, datatype=0))  # Metal3
sunrise_logic_pd_bias.add(gdstk.FlexPath([(12.16,5.98),(0,5.98)], 0.29, ends="flush", simple_path=True, layer=30, datatype=0))  # Metal3
sunrise_logic_pd_bias.add(gdstk.FlexPath([(5.535,6.57),(15.84,6.57)], 0.29, ends="flush", simple_path=True, layer=30, datatype=0))  # Metal3
sunrise_logic_pd_bias.add(gdstk.FlexPath([(6.485,7.16),(15.84,7.16)], 0.29, ends="flush", simple_path=True, layer=30, datatype=0))  # Metal3
sunrise_logic_pd_bias.add(gdstk.FlexPath([(10.33,7.75),(15.84,7.75)], 0.29, ends="flush", simple_path=True, layer=30, datatype=0))  # Metal3
sunrise_logic_pd_bias.add(gdstk.FlexPath([(11.285,8.34),(15.84,8.34)], 0.29, ends="flush", simple_path=True, layer=30, datatype=0))  # Metal3
sunrise_logic_pd_bias.add(gdstk.FlexPath([(13.205,8.93),(15.84,8.93)], 0.29, ends="flush", simple_path=True, layer=30, datatype=0))  # Metal3
sunrise_logic_pd_bias.add(gdstk.FlexPath([(15.125,9.52),(15.84,9.52)], 0.29, ends="flush", simple_path=True, layer=30, datatype=0))  # Metal3
sunrise_logic_pd_bias.add(gdstk.Reference(sg13cmos5l_inv_2, (0.24,0.22)))
sunrise_logic_pd_bias.add(gdstk.Reference(sg13cmos5l_inv_2_1, (3.67,-1.66)))
sunrise_logic_pd_bias.add(gdstk.Reference(sg13cmos5l_inv_2_1_1, (5.59,-1.66)))
sunrise_logic_pd_bias.add(gdstk.Reference(via_stack_1, (0.64,1.885), rotation=pi/2))
sunrise_logic_pd_bias.add(gdstk.Reference(via_stack, (0.64,5.39), rotation=pi/2))
sunrise_logic_pd_bias.add(gdstk.Reference(sg13cmos5l_nand2_2, (2.16,0.22)))
sunrise_logic_pd_bias.add(gdstk.Reference(via_stack_1, (4.185,2.095), rotation=pi/2))
sunrise_logic_pd_bias.add(gdstk.Reference(via_stack, (4.185,5.98), rotation=pi/2))
sunrise_logic_pd_bias.add(gdstk.Reference(sg13cmos5l_inv_2_2, (5.04,0.22)))
sunrise_logic_pd_bias.add(gdstk.Reference(via_stack_1, (5.535,1.755), rotation=pi/2))
sunrise_logic_pd_bias.add(gdstk.Reference(via_stack_1, (6.485,1.885), rotation=pi/2))
sunrise_logic_pd_bias.add(gdstk.Reference(via_stack, (5.535,6.57), rotation=pi/2))
sunrise_logic_pd_bias.add(gdstk.Reference(via_stack, (6.485,7.16), rotation=pi/2))
sunrise_logic_pd_bias.add(gdstk.Reference(sg13cmos5l_nand2_2_1, (6.96,0.22)))
sunrise_logic_pd_bias.add(gdstk.Reference(sg13cmos5l_inv_2_3, (9.84,0.22)))
sunrise_logic_pd_bias.add(gdstk.Reference(via_stack_1, (7.925,1.8), rotation=pi/2))
sunrise_logic_pd_bias.add(gdstk.Reference(via_stack, (7.925,5.39), rotation=pi/2))
sunrise_logic_pd_bias.add(gdstk.Reference(via_stack_1, (8.985,2.095), rotation=pi/2))
sunrise_logic_pd_bias.add(gdstk.Reference(via_stack, (8.985,5.98), rotation=pi/2))
sunrise_logic_pd_bias.add(gdstk.Reference(via_stack_1, (10.33,1.755), rotation=pi/2))
sunrise_logic_pd_bias.add(gdstk.Reference(via_stack, (10.33,7.75), rotation=pi/2))
sunrise_logic_pd_bias.add(gdstk.Reference(via_stack_1, (11.285,1.885), rotation=pi/2))
sunrise_logic_pd_bias.add(gdstk.Reference(via_stack, (11.285,8.34), rotation=pi/2))
sunrise_logic_pd_bias.add(gdstk.Reference(via_stack_1, (12.16,1.885), rotation=pi/2))
sunrise_logic_pd_bias.add(gdstk.Reference(via_stack, (12.16,5.98), rotation=pi/2))
sunrise_logic_pd_bias.add(gdstk.Reference(via_stack_1, (13.205,1.885), rotation=pi/2))
sunrise_logic_pd_bias.add(gdstk.Reference(via_stack, (13.205,8.93), rotation=pi/2))
sunrise_logic_pd_bias.add(gdstk.Reference(via_stack_1, (15.125,1.885), rotation=pi/2))
sunrise_logic_pd_bias.add(gdstk.Reference(via_stack, (15.125,9.52), rotation=pi/2))
sunrise_logic_pd_bias.add(gdstk.Label('n0', (2.315,1.905), layer=8, texttype=0))
sunrise_logic_pd_bias.add(gdstk.Label('vssa', (0.46,0.22), layer=8, texttype=25))
sunrise_logic_pd_bias.add(gdstk.Label('vdda_lv', (0.46,4), layer=8, texttype=25))
sunrise_logic_pd_bias.add(gdstk.Label('int_bias', (0.145,5.39), layer=30, texttype=25))
sunrise_logic_pd_bias.add(gdstk.Label('pdb', (0.145,5.98), layer=30, texttype=25))
sunrise_logic_pd_bias.add(gdstk.Label('ext_bias_intb', (15.695,6.57), layer=30, texttype=25))
sunrise_logic_pd_bias.add(gdstk.Label('ext_bias_int', (15.695,7.16), layer=30, texttype=25))
sunrise_logic_pd_bias.add(gdstk.Label('int_bias_intb', (15.695,7.75), layer=30, texttype=25))
sunrise_logic_pd_bias.add(gdstk.Label('int_bias_int', (15.695,8.34), layer=30, texttype=25))
sunrise_logic_pd_bias.add(gdstk.Label('pd_int', (15.695,8.93), layer=30, texttype=25))
sunrise_logic_pd_bias.add(gdstk.Label('pdb_int', (15.695,9.52), layer=30, texttype=25))

lib.write_gds('sunrise_logic_pd_bias.gds')
